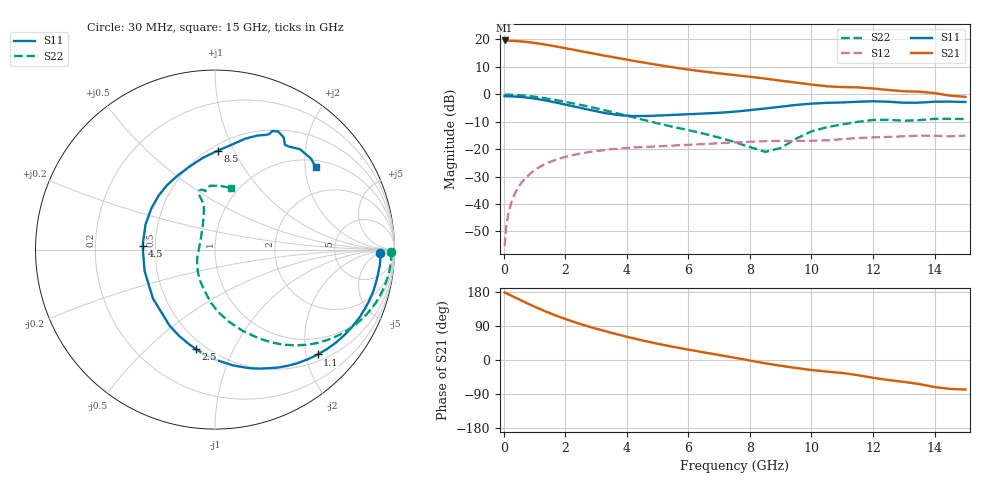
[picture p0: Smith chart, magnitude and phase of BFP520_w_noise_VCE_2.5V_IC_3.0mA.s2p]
! Infineon Technologies  Discrete & RF Semiconductors
! BFP520
! VCE =  2.5 V,  IC =  3.0 mA
! Common Emitter S-Parameters:  Oct 2015
# GHz  S  MA  R  50
!  f  S11  S21  S12  S22
! GHz  MAG  ANG  MAG  ANG  MAG  ANG  MAG  ANG
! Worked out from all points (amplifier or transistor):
!   109 points, 30 MHz to 15 GHz, reference 50 ohm
!   highest |S21| = 19.6 dB at 30 MHz (marker M1)
!   |S21| within 3 dB of that: start of sweep to 2.081 GHz
!   unconditionally stable (mu >= 1): 4.714 GHz to end of sweep
!   at 450 MHz: K = 0.13, MSG = 26.9 dB, |S12| = -34.4 dB
!   at 4 GHz: K = 0.85, MSG = 16.1 dB, |S12| = -19.6 dB
!   at 15 GHz: K = 1.50, MAG = 2.9 dB, |S12| = -15.1 dB
!   lowest NFmin = 1.02 dB at 900 MHz
!   S11 on the Smith chart (normalised r, x): 30 MHz: 23, -6; 1.1 GHz: 0.63, -2.23; 2.5 GHz: 0.45, -0.72; 4.5 GHz: 0.42, +0.02; 8.5 GHz: 0.55, +0.87; 15 GHz: 1.18, +2.28
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0.03  0.9211 -1.2  9.605 178.2  0.0017 49.8  0.9827 -0.8
0.09  0.923 -3.7  9.549 176.0  0.004 70.8  0.9836 -2.3
0.2  0.9187 -8.3  9.506 171.7  0.0086 78.3  0.9813 -5.2
0.5  0.8994 -20.8  9.283 160.0  0.0212 76.5  0.9637 -13.0
0.8  0.8646 -33.3  8.93 148.2  0.0334 71.0  0.9316 -20.7
1.1  0.818 -45.6  8.493 137.3  0.0448 65.2  0.8884 -27.9
1.4  0.7645 -57.8  7.986 126.9  0.0551 59.4  0.8381 -34.7
1.7  0.7071 -69.7  7.458 117.2  0.0642 53.9  0.7848 -40.9
2  0.6522 -81.3  6.943 108.3  0.0722 48.9  0.7304 -46.6
2.5  0.5639 -100.8  6.133 94.8  0.0832 41.3  0.6416 -55.2
2.6  0.5489 -104.8  5.984 92.2  0.0852 40.0  0.6246 -56.8
3  0.4936 -120.9  5.433 82.6  0.0923 34.8  0.557 -63.2
3.5  0.4403 -141.7  4.827 71.5  0.0996 28.7  0.4793 -71.1
4  0.4101 -163.2  4.303 61.2  0.1052 23.3  0.4082 -79.2
4.5  0.4039 177.0  3.841 51.6  0.1094 18.5  0.3472 -87.2
5.1  0.4119 157.6  3.374 41.2  0.1133 13.8  0.2874 -95.5
6  0.4344 136.6  2.832 27.3  0.12 8.0  0.222 -107.4
7.6  0.4886 105.2  2.211 4.6  0.1333 -2.4  0.1295 -140.4
8.5  0.5516 88.4  1.932 -8.7  0.1398 -9.2  0.0892 175.7
10.5  0.6992 66.1  1.401 -30.6  0.1446 -19.6  0.2517 104.2
13  0.7022 56.3  1.137 -57.7  0.1714 -36.6  0.3299 99.4
15  0.7242 39.2  0.902 -77.9  0.1761 -50.9  0.355 75.4
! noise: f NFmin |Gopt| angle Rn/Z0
0.45  1.06  0.59  3  0.37
0.9  1.02  0.55  12  0.38
1.9  1.29  0.46  25  0.32
2.4  1.36  0.42  36  0.31
3.5  1.32  0.41  61  0.28
